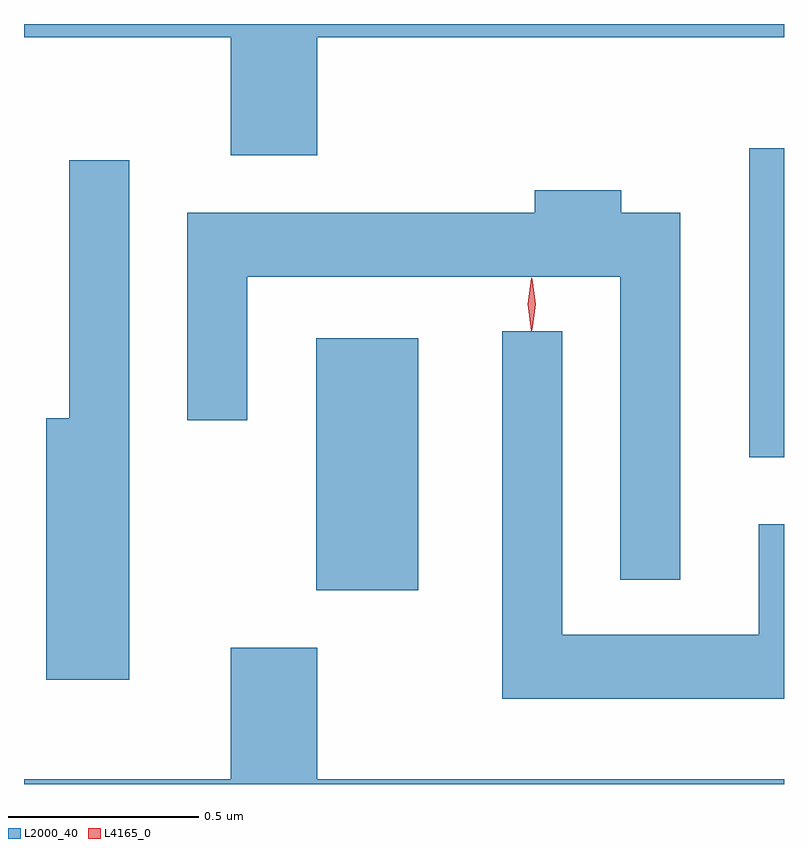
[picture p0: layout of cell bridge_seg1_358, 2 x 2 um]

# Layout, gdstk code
import gdstk
lib = gdstk.Library(unit=1e-6, precision=1e-09)
def R(c, l, rs):  # rectangles x0, y0, x1, y1
    for r in rs: c.add(gdstk.rectangle(r[:2], r[2:], *l))
def P(c, l, *ps):  # polygons
    for p in ps: c.add(gdstk.Polygon(p, *l))
L2000_40 = (2000, 40)
L4165_0 = (4165, 0)

bridge_seg1_358 = lib.new_cell('bridge_seg1_358')
R(bridge_seg1_358, L2000_40, [(909.756,889.241,910.024,889.904), (910.896,889.591,910.987,890.404)])
P(bridge_seg1_358, L2000_40, [(909.759,890.696),(910.987,890.696),(910.987,890.731),(908.987,890.731),(908.987,890.696),(909.531,890.696),(909.531,890.386),(909.759,890.386)],
  [(909.264,890.373),(909.106,890.373),(909.106,889.694),(909.046,889.694),(909.046,889.006),(909.264,889.006)],
  [(910.714,890.234),(910.559,890.234),(910.559,890.294),(910.331,890.294),(910.331,890.234),(909.416,890.234),(909.416,889.688),(909.574,889.688),(909.574,890.066),(910.556,890.066),(910.556,889.268),(910.714,889.268)],
  [(910.987,889.414),(910.921,889.414),(910.921,889.124),(910.404,889.124),(910.404,889.923),(910.246,889.923),(910.246,888.956),(910.987,888.956)],
  [(910.987,888.744),(909.759,888.744),(909.759,889.089),(909.531,889.089),(909.531,888.744),(908.987,888.744),(908.987,888.731),(910.987,888.731)])
P(bridge_seg1_358, L4165_0, [(910.323,889.927),(910.314,889.994),(910.323,890.06),(910.324,890.06),(910.324,890.06),(910.334,889.994),(910.324,889.927),(910.324,889.927)],
  [(910.322,889.923),(910.322,889.924),(910.312,889.993),(910.322,890.062),(910.322,890.063),(910.323,890.062),(910.332,889.993),(910.323,889.924)])

lib.write_gds('bridge_seg1_358.gds')
